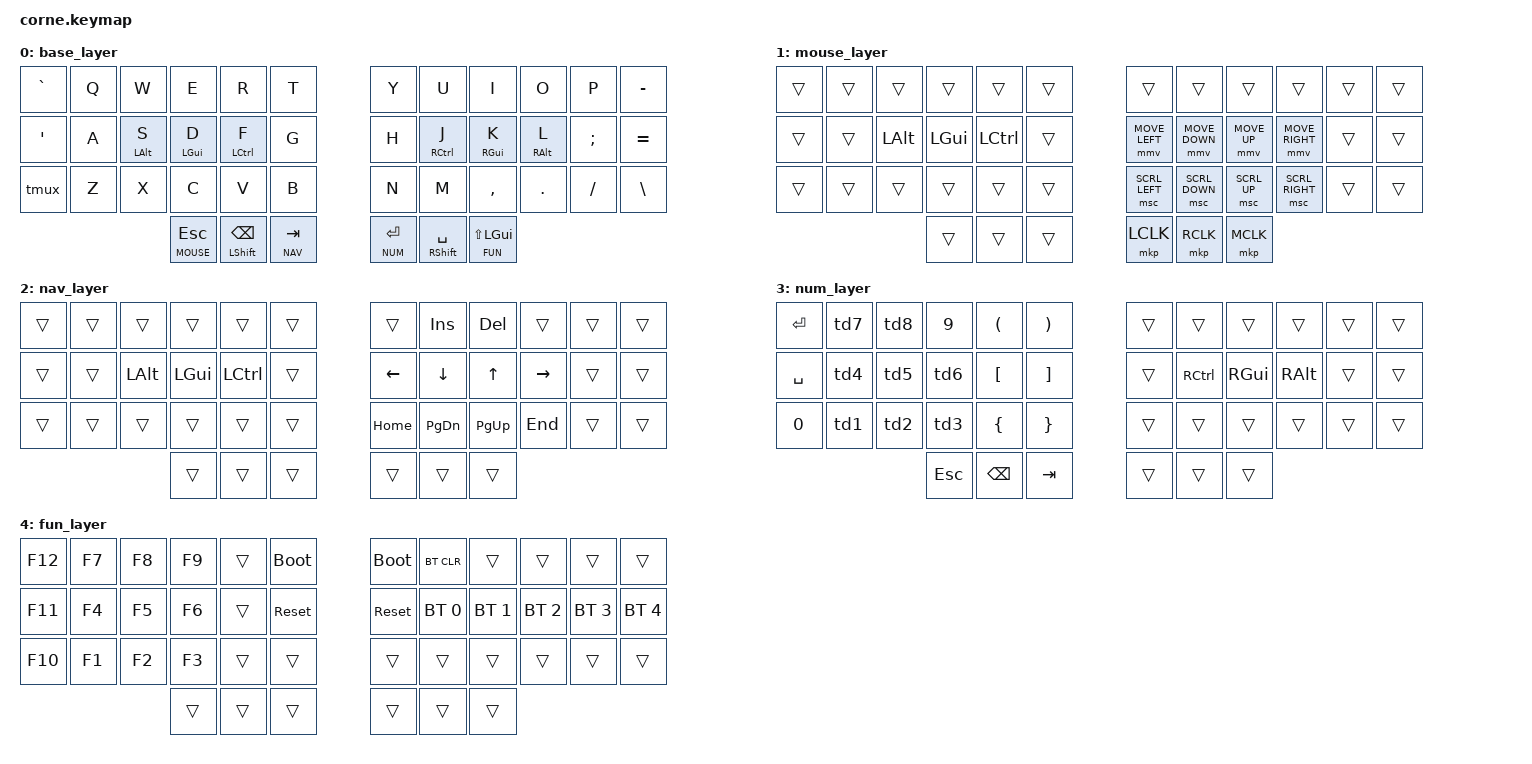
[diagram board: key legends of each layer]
/*
 * Custom layout for Typeractive Corne Wireless (6-column)
 * Based on previous QMK helios_rgb layout
 * SPDX-License-Identifier: MIT
 */

#include <behaviors.dtsi>
#include <dt-bindings/zmk/keys.h>
#include <dt-bindings/zmk/bt.h>

// Mouse speed configuration (must be before pointing.h)
#define ZMK_POINTING_DEFAULT_MOVE_VAL 1800  // default: 600
#define ZMK_POINTING_DEFAULT_SCRL_VAL 25    // default: 10

#include <dt-bindings/zmk/pointing.h>

#define BASE  0
#define MOUSE 1
#define NAV   2
#define NUM   3
#define FUN   4

/ {

    macros {
        // Tmux prefix (Ctrl+B)
        tmux: tmux_prefix {
            compatible = "zmk,behavior-macro";
            #binding-cells = <0>;
            bindings = <&kp LC(B)>;
        };
    };

    behaviors {
        // Home-row mods with balanced flavor
        hm: homerow_mods {
            compatible = "zmk,behavior-hold-tap";
            #binding-cells = <2>;
            tapping-term-ms = <200>;
            quick-tap-ms = <200>;
            flavor = "balanced";
            bindings = <&kp>, <&kp>;
        };

        // Thumb shift - requires pause before hold triggers (prevents accidental shifts)
        ts: thumb_shift {
            compatible = "zmk,behavior-hold-tap";
            #binding-cells = <2>;
            tapping-term-ms = <175>;
            quick-tap-ms = <200>;
            flavor = "balanced";
            bindings = <&kp>, <&kp>;
        };

        // Custom layer-taps: balanced flavor queues keypresses while
        // undecided, then replays them on the resolved layer — fixes the
        // race condition without the stack overhead of hold-while-undecided
        lt_mouse: layer_tap_mouse {
            compatible = "zmk,behavior-hold-tap";
            #binding-cells = <2>;
            tapping-term-ms = <200>;
            quick-tap-ms = <200>;
            flavor = "balanced";
            bindings = <&mo>, <&kp>;
        };
        lt_nav: layer_tap_nav {
            compatible = "zmk,behavior-hold-tap";
            #binding-cells = <2>;
            tapping-term-ms = <200>;
            quick-tap-ms = <200>;
            flavor = "balanced";
            bindings = <&mo>, <&kp>;
        };
        lt_num: layer_tap_num {
            compatible = "zmk,behavior-hold-tap";
            #binding-cells = <2>;
            tapping-term-ms = <200>;
            quick-tap-ms = <200>;
            flavor = "balanced";
            bindings = <&mo>, <&kp>;
        };

        // Layer-tap with sticky key for i3 workspace switching
        fun_sk: fun_layer_sticky {
            compatible = "zmk,behavior-hold-tap";
            #binding-cells = <2>;
            tapping-term-ms = <200>;
            quick-tap-ms = <200>;
            flavor = "balanced";
            bindings = <&mo>, <&sk>;
        };

        // Tap-dance for numbers: tap=num, double=symbol
        td1: tap_dance_1 {
            compatible = "zmk,behavior-tap-dance";
            #binding-cells = <0>;
            tapping-term-ms = <200>;
            bindings = <&kp N1>, <&kp EXCL>;
        };
        td2: tap_dance_2 {
            compatible = "zmk,behavior-tap-dance";
            #binding-cells = <0>;
            tapping-term-ms = <200>;
            bindings = <&kp N2>, <&kp AT>;
        };
        td3: tap_dance_3 {
            compatible = "zmk,behavior-tap-dance";
            #binding-cells = <0>;
            tapping-term-ms = <200>;
            bindings = <&kp N3>, <&kp HASH>;
        };
        td4: tap_dance_4 {
            compatible = "zmk,behavior-tap-dance";
            #binding-cells = <0>;
            tapping-term-ms = <200>;
            bindings = <&kp N4>, <&kp DLLR>;
        };
        td5: tap_dance_5 {
            compatible = "zmk,behavior-tap-dance";
            #binding-cells = <0>;
            tapping-term-ms = <200>;
            bindings = <&kp N5>, <&kp PRCNT>;
        };
        td6: tap_dance_6 {
            compatible = "zmk,behavior-tap-dance";
            #binding-cells = <0>;
            tapping-term-ms = <200>;
            bindings = <&kp N6>, <&kp CARET>;
        };
        td7: tap_dance_7 {
            compatible = "zmk,behavior-tap-dance";
            #binding-cells = <0>;
            tapping-term-ms = <200>;
            bindings = <&kp N7>, <&kp AMPS>;
        };
        td8: tap_dance_8 {
            compatible = "zmk,behavior-tap-dance";
            #binding-cells = <0>;
            tapping-term-ms = <200>;
            bindings = <&kp N8>, <&kp ASTRK>;
        };
    };

    keymap {
        compatible = "zmk,keymap";

        // BASE: QWERTY with home-row mods (ALT, GUI, CTRL) + thumb SHIFT
        // ┌─────┬─────┬─────┬─────┬─────┬─────┐   ┌─────┬─────┬─────┬─────┬─────┬─────┐
        // │  `  │  Q  │  W  │  E  │  R  │  T  │   │  Y  │  U  │  I  │  O  │  P  │  -  │
        // ├─────┼─────┼─────┼─────┼─────┼─────┤   ├─────┼─────┼─────┼─────┼─────┼─────┤
        // │  '  │  A  │ S/A │ D/G │ F/C │  G  │   │  H  │ J/C │ K/G │ L/A │  ;  │  =  │
        // ├─────┼─────┼─────┼─────┼─────┼─────┤   ├─────┼─────┼─────┼─────┼─────┼─────┤
        // │TMUX │  Z  │  X  │  C  │  V  │  B  │   │  N  │  M  │  ,  │  .  │  /  │  \  │
        // └─────┴─────┴─────┼─────┼─────┼─────┤   ├─────┼─────┼─────┼─────┴─────┴─────┘
        //                   │ ESC │BSPC │ TAB │   │ ENT │ SPC │S+GUI│
        //                   │MOUSE│/SFT │ NAV │   │ NUM │/SFT │ FUN │
        //                   └─────┴─────┴─────┘   └─────┴─────┴─────┘
        base_layer {
            bindings = <
   &kp GRAVE  &kp Q  &kp W       &kp E       &kp R        &kp T          &kp Y      &kp U        &kp I       &kp O       &kp P     &kp MINUS
   &kp SQT    &kp A  &hm LALT S  &hm LGUI D  &hm LCTRL F  &kp G          &kp H      &hm RCTRL J  &hm RGUI K  &hm RALT L  &kp SEMI  &kp EQUAL
   &tmux      &kp Z  &kp X       &kp C       &kp V        &kp B          &kp N      &kp M        &kp COMMA   &kp DOT     &kp FSLH  &kp BSLH
                                 &lt_mouse MOUSE ESC &ts LSHFT BSPC &lt_nav NAV TAB   &lt_num NUM RET &ts RSHFT SPACE &fun_sk FUN LS(LGUI)
            >;
        };

        // MOUSE: Mouse movement, scrolling, and clicks
        // ┌─────┬─────┬─────┬─────┬─────┬─────┐   ┌─────┬─────┬─────┬─────┬─────┬─────┐
        // │     │     │     │     │     │     │   │     │     │     │     │     │     │
        // ├─────┼─────┼─────┼─────┼─────┼─────┤   ├─────┼─────┼─────┼─────┼─────┼─────┤
        // │     │     │ ALT │ GUI │CTRL │     │   │ M_L │ M_D │ M_U │ M_R │     │     │
        // ├─────┼─────┼─────┼─────┼─────┼─────┤   ├─────┼─────┼─────┼─────┼─────┼─────┤
        // │     │     │     │     │     │     │   │SCL_L│SCL_D│SCL_U│SCL_R│     │     │
        // └─────┴─────┴─────┼─────┼─────┼─────┤   ├─────┼─────┼─────┼─────┴─────┴─────┘
        //                   │     │     │     │   │LCLK │RCLK │MCLK │
        //                   └─────┴─────┴─────┘   └─────┴─────┴─────┘
        mouse_layer {
            bindings = <
   &trans  &trans  &trans    &trans    &trans     &trans       &trans          &trans          &trans          &trans           &trans           &trans
   &trans  &trans  &kp LALT  &kp LGUI  &kp LCTRL  &trans       &mmv MOVE_LEFT  &mmv MOVE_DOWN  &mmv MOVE_UP    &mmv MOVE_RIGHT  &trans           &trans
   &trans  &trans  &trans    &trans    &trans     &trans       &msc SCRL_LEFT  &msc SCRL_DOWN  &msc SCRL_UP    &msc SCRL_RIGHT  &trans           &trans
                             &trans    &trans     &trans       &mkp LCLK       &mkp RCLK       &mkp MCLK
            >;
        };

        // NAV: Arrows, Page nav, Insert/Delete
        // ┌─────┬─────┬─────┬─────┬─────┬─────┐   ┌─────┬─────┬─────┬─────┬─────┬─────┐
        // │     │     │     │     │     │     │   │     │ INS │ DEL │     │     │     │
        // ├─────┼─────┼─────┼─────┼─────┼─────┤   ├─────┼─────┼─────┼─────┼─────┼─────┤
        // │     │     │ ALT │ GUI │CTRL │     │   │LEFT │DOWN │ UP  │RIGHT│     │     │
        // ├─────┼─────┼─────┼─────┼─────┼─────┤   ├─────┼─────┼─────┼─────┼─────┼─────┤
        // │     │     │     │     │     │     │   │HOME │PGDN │PGUP │ END │     │     │
        // └─────┴─────┴─────┼─────┼─────┼─────┤   ├─────┼─────┼─────┼─────┴─────┴─────┘
        //                   │     │     │     │   │     │     │     │
        //                   └─────┴─────┴─────┘   └─────┴─────┴─────┘
        nav_layer {
            bindings = <
   &trans  &trans  &trans    &trans    &trans     &trans       &trans      &kp INS      &kp DEL     &trans     &trans      &trans
   &trans  &trans  &kp LALT  &kp LGUI  &kp LCTRL  &trans       &kp LEFT    &kp DOWN     &kp UP      &kp RIGHT  &trans      &trans
   &trans  &trans  &trans    &trans    &trans     &trans       &kp HOME    &kp PG_DN    &kp PG_UP   &kp END    &trans      &trans
                             &trans    &trans     &trans       &trans      &trans       &trans
            >;
        };

        // NUM: Numpad with tap-dance (tap=num, double=symbol)
        // ┌─────┬─────┬─────┬─────┬─────┬─────┐   ┌─────┬─────┬─────┬─────┬─────┬─────┐
        // │ ENT │ 7/& │ 8/* │  9  │  (  │  )  │   │     │     │     │     │     │     │
        // ├─────┼─────┼─────┼─────┼─────┼─────┤   ├─────┼─────┼─────┼─────┼─────┼─────┤
        // │ SPC │ 4/$ │ 5/% │ 6/^ │  [  │  ]  │   │     │CTRL │ GUI │ ALT │     │     │
        // ├─────┼─────┼─────┼─────┼─────┼─────┤   ├─────┼─────┼─────┼─────┼─────┼─────┤
        // │  0  │ 1/! │ 2/@ │ 3/# │  {  │  }  │   │     │     │     │     │     │     │
        // └─────┴─────┴─────┼─────┼─────┼─────┤   ├─────┼─────┼─────┼─────┴─────┴─────┘
        //                   │ ESC │BSPC │ TAB │   │     │     │     │
        //                   └─────┴─────┴─────┘   └─────┴─────┴─────┘
        num_layer {
            bindings = <
   &kp RET    &td7  &td8  &kp N9  &kp LPAR  &kp RPAR   &trans  &trans     &trans    &trans    &trans  &trans
   &kp SPACE  &td4  &td5  &td6    &kp LBKT  &kp RBKT   &trans  &kp RCTRL  &kp RGUI  &kp RALT  &trans  &trans
   &kp N0     &td1  &td2  &td3    &kp LBRC  &kp RBRC   &trans  &trans     &trans    &trans    &trans  &trans
                          &kp ESC  &kp BSPC  &kp TAB   &trans  &trans     &trans
            >;
        };

        // FUN: F-keys, Bluetooth, Reset/Bootloader
        // ┌─────┬─────┬─────┬─────┬─────┬─────┐   ┌─────┬─────┬─────┬─────┬─────┬─────┐
        // │ F12 │ F7  │ F8  │ F9  │     │BOOTL│   │BOOTL│BTCLR│     │     │     │     │
        // ├─────┼─────┼─────┼─────┼─────┼─────┤   ├─────┼─────┼─────┼─────┼─────┼─────┤
        // │ F11 │ F4  │ F5  │ F6  │     │RESET│   │RESET│ BT1 │ BT2 │ BT3 │ BT4 │ BT5 │
        // ├─────┼─────┼─────┼─────┼─────┼─────┤   ├─────┼─────┼─────┼─────┼─────┼─────┤
        // │ F10 │ F1  │ F2  │ F3  │     │     │   │     │     │     │     │     │     │
        // └─────┴─────┴─────┼─────┼─────┼─────┤   ├─────┼─────┼─────┼─────┴─────┴─────┘
        //                   │     │     │     │   │     │     │     │
        //                   └─────┴─────┴─────┘   └─────┴─────┴─────┘
        fun_layer {
            bindings = <
   &kp F12     &kp F7  &kp F8  &kp F9  &trans  &bootloader    &bootloader  &bt BT_CLR    &trans        &trans        &trans        &trans
   &kp F11     &kp F4  &kp F5  &kp F6  &trans  &sys_reset     &sys_reset   &bt BT_SEL 0  &bt BT_SEL 1  &bt BT_SEL 2  &bt BT_SEL 3  &bt BT_SEL 4
   &kp F10     &kp F1  &kp F2  &kp F3  &trans  &trans         &trans       &trans        &trans        &trans        &trans        &trans
                       &trans  &trans  &trans                 &trans       &trans        &trans
            >;
        };
    };
};
